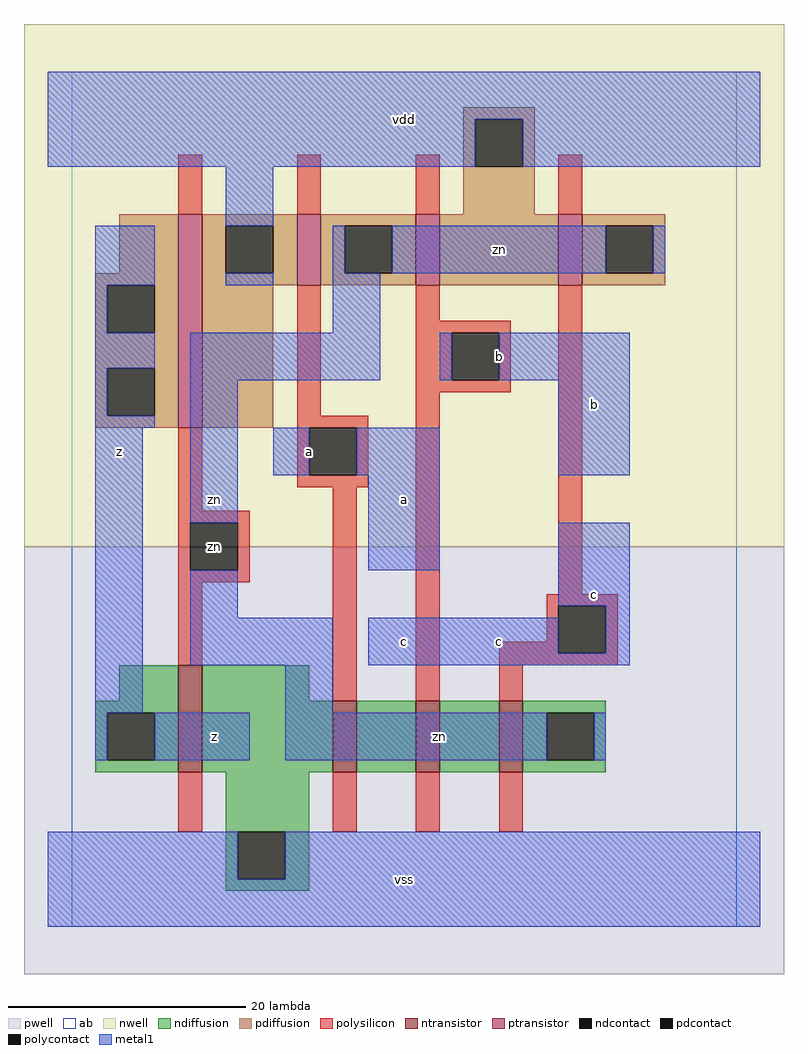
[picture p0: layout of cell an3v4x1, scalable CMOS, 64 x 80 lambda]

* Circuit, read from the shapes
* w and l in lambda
.subckt an3v4x1 a b c vdd vss z zn
M1 vss zn z VSUBS nfet w=9 l=2
M2 n1 a vss VSUBS nfet w=6 l=2
M3 n2 b n1 VSUBS nfet w=6 l=2
M4 zn c n2 VSUBS nfet w=6 l=2
M5 vdd zn z n3 pfet w=18 l=2
M6 zn a vdd n3 pfet w=6 l=2
M7 vdd b zn n3 pfet w=6 l=2
M8 zn c vdd n3 pfet w=6 l=2
.ends

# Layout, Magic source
magic
tech scmos
<< ab >>
rect 0 0 56 72
<< pwell >>
rect -4 -4 60 32
<< nwell >>
rect -4 32 60 76
<< polysilicon >>
rect 9 60 11 65
rect 19 60 21 65
rect 29 60 31 65
rect 41 60 43 65
rect 19 43 21 54
rect 29 51 31 54
rect 29 50 37 51
rect 29 46 32 50
rect 36 46 37 50
rect 29 45 37 46
rect 19 42 25 43
rect 9 35 11 42
rect 19 38 20 42
rect 24 38 25 42
rect 19 37 25 38
rect 9 34 15 35
rect 9 30 10 34
rect 14 30 15 34
rect 9 29 15 30
rect 9 22 11 29
rect 22 19 24 37
rect 29 19 31 45
rect 41 28 43 54
rect 40 27 46 28
rect 40 24 41 27
rect 36 23 41 24
rect 45 23 46 27
rect 36 22 46 23
rect 36 19 38 22
rect 9 8 11 13
rect 22 8 24 13
rect 29 8 31 13
rect 36 8 38 13
<< ndiffusion >>
rect 4 19 9 22
rect 2 18 9 19
rect 2 14 3 18
rect 7 14 9 18
rect 2 13 9 14
rect 11 19 20 22
rect 11 13 22 19
rect 24 13 29 19
rect 31 13 36 19
rect 38 18 45 19
rect 38 14 40 18
rect 44 14 45 18
rect 38 13 45 14
rect 13 8 20 13
rect 13 4 14 8
rect 18 4 20 8
rect 13 3 20 4
<< pdiffusion >>
rect 33 68 39 69
rect 33 64 34 68
rect 38 64 39 68
rect 33 60 39 64
rect 4 55 9 60
rect 2 54 9 55
rect 2 50 3 54
rect 7 50 9 54
rect 2 47 9 50
rect 2 43 3 47
rect 7 43 9 47
rect 2 42 9 43
rect 11 59 19 60
rect 11 55 13 59
rect 17 55 19 59
rect 11 54 19 55
rect 21 59 29 60
rect 21 55 23 59
rect 27 55 29 59
rect 21 54 29 55
rect 31 54 41 60
rect 43 59 50 60
rect 43 55 45 59
rect 49 55 50 59
rect 43 54 50 55
rect 11 42 17 54
<< metal1 >>
rect -2 68 58 72
rect -2 64 34 68
rect 38 64 58 68
rect 13 59 17 64
rect 2 54 7 59
rect 13 54 17 55
rect 22 55 23 59
rect 27 55 45 59
rect 49 55 50 59
rect 2 50 3 54
rect 22 50 26 55
rect 2 47 7 50
rect 2 43 3 47
rect 2 42 7 43
rect 10 46 26 50
rect 31 46 32 50
rect 36 46 47 50
rect 2 18 6 42
rect 10 34 14 46
rect 17 38 20 42
rect 24 38 31 42
rect 41 38 47 46
rect 25 30 31 38
rect 10 26 14 30
rect 41 27 47 34
rect 10 22 22 26
rect 25 23 41 26
rect 45 23 47 27
rect 25 22 47 23
rect 18 18 22 22
rect 2 14 3 18
rect 7 14 15 18
rect 18 14 40 18
rect 44 14 45 18
rect -2 4 14 8
rect 18 4 58 8
rect -2 0 58 4
<< ntransistor >>
rect 9 13 11 22
rect 22 13 24 19
rect 29 13 31 19
rect 36 13 38 19
<< ptransistor >>
rect 9 42 11 60
rect 19 54 21 60
rect 29 54 31 60
rect 41 54 43 60
<< polycontact >>
rect 32 46 36 50
rect 20 38 24 42
rect 10 30 14 34
rect 41 23 45 27
<< ndcontact >>
rect 3 14 7 18
rect 40 14 44 18
rect 14 4 18 8
<< pdcontact >>
rect 34 64 38 68
rect 3 50 7 54
rect 3 43 7 47
rect 13 55 17 59
rect 23 55 27 59
rect 45 55 49 59
<< labels >>
rlabel polycontact 12 32 12 32 6 zn
rlabel metal1 4 40 4 40 6 z
rlabel metal1 12 16 12 16 6 z
rlabel metal1 20 40 20 40 6 a
rlabel metal1 12 36 12 36 6 zn
rlabel metal1 28 4 28 4 6 vss
rlabel metal1 28 24 28 24 6 c
rlabel metal1 36 24 36 24 6 c
rlabel metal1 28 36 28 36 6 a
rlabel metal1 36 48 36 48 6 b
rlabel metal1 28 68 28 68 6 vdd
rlabel metal1 31 16 31 16 6 zn
rlabel metal1 44 28 44 28 6 c
rlabel metal1 44 44 44 44 6 b
rlabel metal1 36 57 36 57 6 zn
<< end >>
